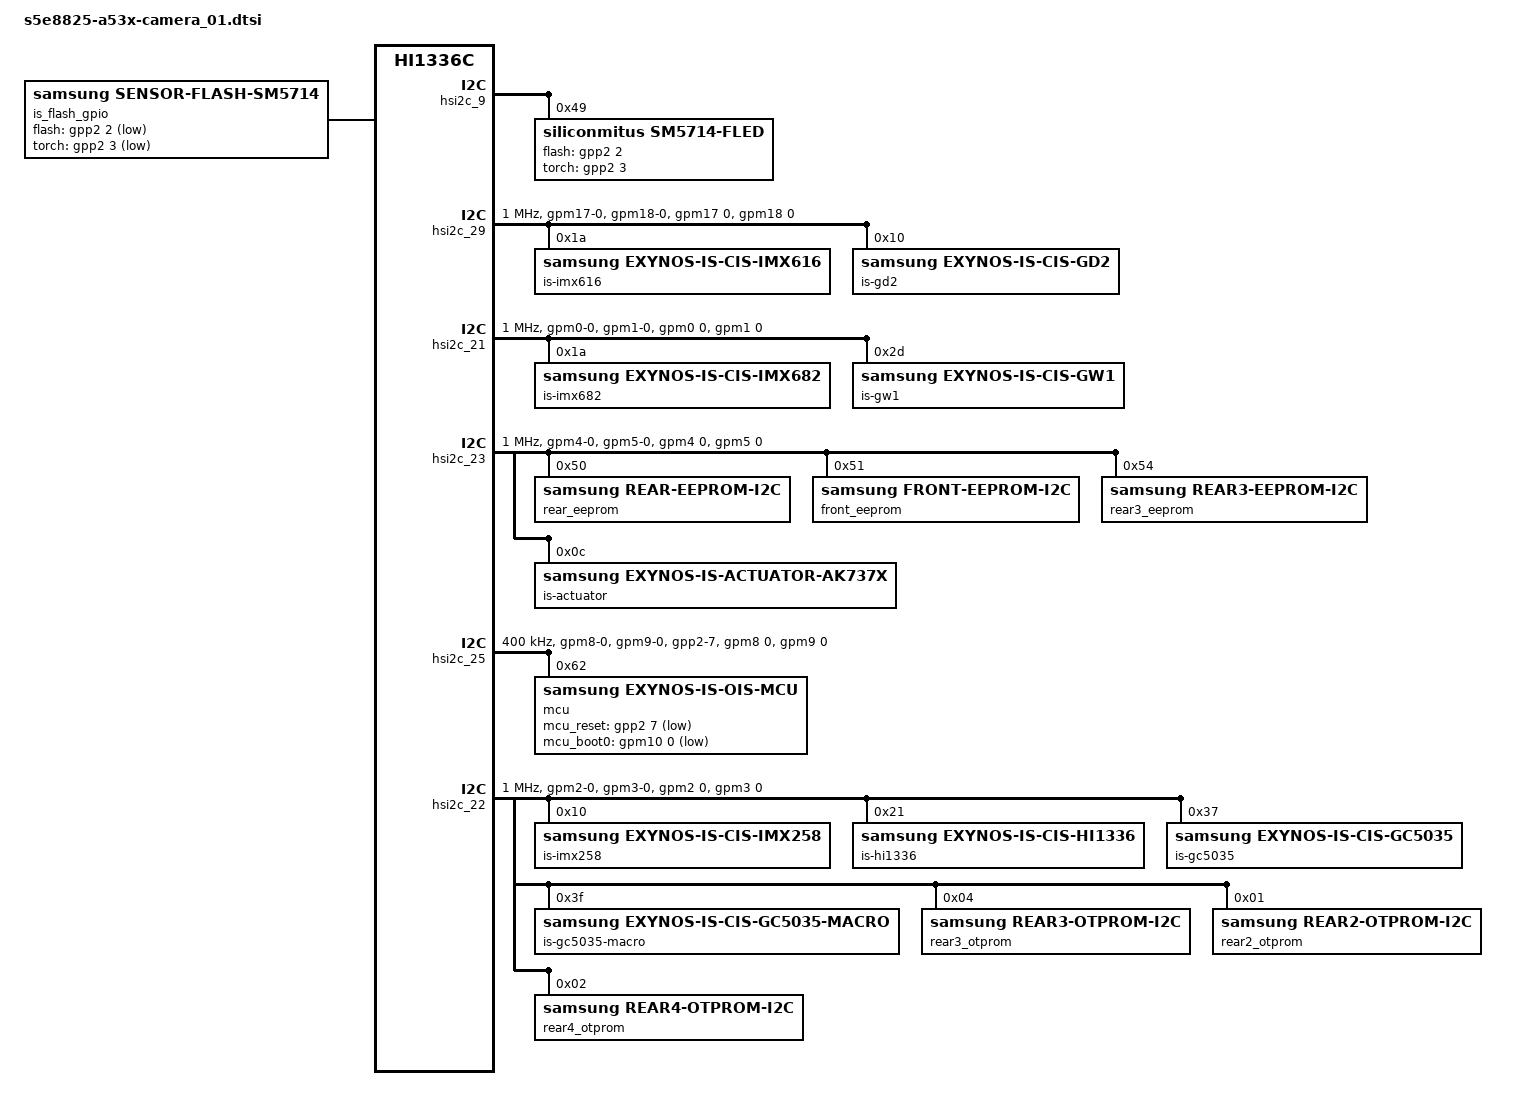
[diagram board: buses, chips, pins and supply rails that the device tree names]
/*
 * Samsung Exynos SoC series Pablo driver
 *
 * Copyright (c) 2021 Samsung Electronics Co., Ltd
 *
 * This program is free software; you can redistribute it and/or modify
 * it under the terms of the GNU General Public License version 2 as
 * published by the Free Software Foundation.
 */

#include <dt-bindings/camera/exynos_is_dt.h>

#include "module_imx682.dtsi"
#include "module_imx616.dtsi"
#include "module_gd2.dtsi"
#include "module_imx258.dtsi"
#include "module_gc5035.dtsi"
#include "module_hi1336c.dtsi"
#include "module_gw1p.dtsi"

/ {
	fragment@camera {
		target-path = "/";
		__overlay__ {
			#address-cells = <2>;
			#size-cells = <1>;
			interrupt-parent = <&gic>;

			is_sensor_imx682: is_sensor_imx682@34 {
				power_seq {
					scenario_normal_on {
						20 { pname = "VDDA_2.9V_CAM"; pin = <PIN_REGULATOR 1 1 2900000>; };
						40 { pname = "VDDD_1.1V_CAM"; pin = <PIN_REGULATOR 1 1 1100000>; };
						50 { pname = "VDDIO_1.8V_CAM"; pin = <PIN_REGULATOR 1 1>; share = <SRT_ACQUIRE SHARED_PIN1 1>; };
					};
					scenario_normal_off {
						70 { pname = "VDDIO_1.8V_CAM"; pin = <PIN_REGULATOR 0 0>; share = <SRT_RELEASE SHARED_PIN1 0>; };
					};
					scenario_ois_factory_on {
						20 { pname = "VDDIO_1.8V_CAM"; pin = <PIN_REGULATOR 1 0>; share = <SRT_ACQUIRE SHARED_PIN1 1>; };
					};
					scenario_ois_factory_off {
						80 { pname = "VDDIO_1.8V_CAM"; pin = <PIN_REGULATOR 0 0>; share = <SRT_RELEASE SHARED_PIN1 0>; };
					};
					scenario_read_rom_on {
						10 { pname = "VDDIO_1.8V_CAM"; pin = <PIN_REGULATOR 1 5000>; share = <SRT_ACQUIRE SHARED_PIN1 1>; };
					};
					scenario_read_rom_off {
						20 { pname = "VDDIO_1.8V_CAM"; pin = <PIN_REGULATOR 0 20000>; share = <SRT_RELEASE SHARED_PIN1 0>; };
					};
				};
			};
			is_sensor_gw1: is_sensor_gw1@5A {
				power_seq {
					scenario_normal_on {
						20 { pname = "VDDA_2.9V_CAM"; pin = <PIN_REGULATOR 1 1 2800000>; };
						40 { pname = "VDDD_1.1V_CAM"; pin = <PIN_REGULATOR 1 1 1000000>; };
						50 { pname = "VDDIO_1.8V_CAM"; pin = <PIN_REGULATOR 1 1>; share = <SRT_ACQUIRE SHARED_PIN1 1>; };
					};

					scenario_normal_off {
						70 { pname = "VDDIO_1.8V_CAM"; pin = <PIN_REGULATOR 0 0>; share = <SRT_RELEASE SHARED_PIN1 0>; };
					};

					scenario_ois_factory_on {
						20 { pname = "VDDIO_1.8V_CAM"; pin = <PIN_REGULATOR 1 0>; share = <SRT_ACQUIRE SHARED_PIN1 1>; };
					};

					scenario_ois_factory_off {
						80 { pname = "VDDIO_1.8V_CAM"; pin = <PIN_REGULATOR 0 0>; share = <SRT_RELEASE SHARED_PIN1 0>; };
					};

					scenario_read_rom_on {
						10 { pname = "VDDIO_1.8V_CAM"; pin = <PIN_REGULATOR 1 5000>; share = <SRT_ACQUIRE SHARED_PIN1 1>; };
					};

					scenario_read_rom_off {
						20 { pname = "VDDIO_1.8V_CAM"; pin = <PIN_REGULATOR 0 20000>; share = <SRT_RELEASE SHARED_PIN1 0>; };
					};
				};
			};

			is_sensor_imx616: is_sensor_imx616@34 {
				power_seq {
					scenario_normal_on {
						20 { pname = "VDDA_2.9V_FCAM"; pin = <PIN_REGULATOR 1 0 2900000>; };
						30 { pname = "VDDIO_1.8V_CAM"; pin = <PIN_REGULATOR 1 0>; share = <SRT_ACQUIRE SHARED_PIN1 1>; };
						40 { pname = "VDDD_1.05V_SUB"; pin = <PIN_REGULATOR 1 500 1050000>; };
						70 { pname = "MCLK"; pin = <PIN_MCLK 1 500>; share = <SRT_ACQUIRE SHARED_PIN5 1>; };
					};

					scenario_normal_off {
						30 { pname = "MCLK"; pin = <PIN_MCLK 0 0>; share = <SRT_RELEASE SHARED_PIN5 0>; };
						90 { pname = "VDDIO_1.8V_CAM"; pin = <PIN_REGULATOR 0 0>; share = <SRT_RELEASE SHARED_PIN1 0>; };
					};

					scenario_read_rom_on {
						10 { pname = "VDDIO_1.8V_CAM"; pin = <PIN_REGULATOR 1 3000>; share = <SRT_ACQUIRE SHARED_PIN1 1>; };
					};

					scenario_read_rom_off {
						20 { pname = "VDDIO_1.8V_CAM"; pin = <PIN_REGULATOR 0 20000>; share = <SRT_RELEASE SHARED_PIN1 0>; };
					};
				};
			};

			is_sensor_gd2: is_sensor_gd2@20 {
				power_seq {
					scenario_normal_on {
						20 { pname = "VDDA_2.9V_FCAM"; pin = <PIN_REGULATOR 1 0 2800000>; };
						30 { pname = "VDDIO_1.8V_CAM"; pin = <PIN_REGULATOR 1 0>; share = <SRT_ACQUIRE SHARED_PIN1 1>; };
						40 { pname = "VDDD_1.05V_SUB"; pin = <PIN_REGULATOR 1 500 1000000>; };
						80 { pname = "MCLK"; pin = <PIN_MCLK 1 500>; share = <SRT_ACQUIRE SHARED_PIN5 1>; };
					};

					scenario_normal_off {
						40 { pname = "MCLK"; pin = <PIN_MCLK 0 0>; share = <SRT_RELEASE SHARED_PIN5 0>; };
						90 { pname = "VDDIO_1.8V_CAM"; pin = <PIN_REGULATOR 0 0>; share = <SRT_RELEASE SHARED_PIN1 0>; };
					};

					scenario_read_rom_on {
						10 { pname = "VDDIO_1.8V_CAM"; pin = <PIN_REGULATOR 1 3000>; share = <SRT_ACQUIRE SHARED_PIN1 1>; };
					};

					scenario_read_rom_off {
						20 { pname = "VDDIO_1.8V_CAM"; pin = <PIN_REGULATOR 0 20000>; share = <SRT_RELEASE SHARED_PIN1 0>; };
					};
				};
			};

			is_sensor_imx258: is_sensor_imx258@20 {
				power_seq {
					scenario_normal_on {
						20 { pname = "VDDIO_1.8V_CAM"; pin = <PIN_REGULATOR 1 2000>; share = <SRT_ACQUIRE SHARED_PIN1 1>; };
						30 { pname = "vdd_ldo23s"; pin = <PIN_REGULATOR 1 2000 1200000>; };
						80 { pname = "MCLK"; pin = <PIN_MCLK 1 12000>; gpio = <&gpg0 4 0x1>; share = <SRT_ACQUIRE SHARED_PIN4 1>; };
					};

					scenario_normal_off {
						50 { pname = "VDDIO_1.8V_CAM"; pin = <PIN_REGULATOR 0 0>; share = <SRT_RELEASE SHARED_PIN1 0>; };
						60 { pname = "MCLK"; pin = <PIN_MCLK 0 0>; gpio = <&gpg0 4 0x1>; share = <SRT_RELEASE SHARED_PIN4 0>; };
					};

					scenario_read_rom_on {
						10 { pname = "VDDIO_1.8V_CAM"; pin = <PIN_REGULATOR 1 5000>; share = <SRT_ACQUIRE SHARED_PIN1 1>; };
					};

					scenario_read_rom_off {
						20 { pname = "VDDIO_1.8V_CAM"; pin = <PIN_REGULATOR 0 20000>; share = <SRT_RELEASE SHARED_PIN1 0>; };
					};
				};
			};

			is_sensor_hi1336: is_sensor_hi1336@42 {
				power_seq {
					scenario_normal_on {
						30 { pname = "VDDIO_1.8V_CAM"; pin = <PIN_REGULATOR 1 0>; share = <SRT_ACQUIRE SHARED_PIN1 1>; };
						60 { pname = "vdd_ldo23s"; pin = <PIN_REGULATOR 1 500 1100000>; };
						90 { pname = "MCLK"; pin = <PIN_MCLK 1 500>; gpio = <&gpg0 4 0x1>; share = <SRT_ACQUIRE SHARED_PIN4 1>; };
					};
					scenario_normal_off {
						20 { pname = "MCLK"; pin = <PIN_MCLK 0 500>; gpio = <&gpg0 4 0x1>; share = <SRT_RELEASE SHARED_PIN4 0>; };
						90 { pname = "VDDIO_1.8V_CAM"; pin = <PIN_REGULATOR 0 0>; share = <SRT_RELEASE SHARED_PIN1 0>; };
					};
					scenario_read_rom_on {
						30 { pname = "VDDIO_1.8V_CAM"; pin = <PIN_REGULATOR 1 0>; share = <SRT_ACQUIRE SHARED_PIN1 1>; };
						60 { pname = "vdd_ldo23s"; pin = <PIN_REGULATOR 1 500 1100000>; };
						90 { pname = "MCLK"; pin = <PIN_MCLK 1 500>; gpio = <&gpg0 4 0x1>; share = <SRT_ACQUIRE SHARED_PIN4 1>; };
					};
					scenario_read_rom_off {
						20 { pname = "MCLK"; pin = <PIN_MCLK 0 500>; gpio = <&gpg0 4 0x1>; share = <SRT_RELEASE SHARED_PIN4 0>; };
						90 { pname = "VDDIO_1.8V_CAM"; pin = <PIN_REGULATOR 0 0>; share = <SRT_RELEASE SHARED_PIN1 0>; };
					};
				};
			};

			is_sensor_gc5035: is_sensor_gc5035@6E {
				power_seq {
					scenario_normal_on {
						20 { pname = "VDDIO_1.8V_CAM"; pin = <PIN_REGULATOR 1 0>; share = <SRT_ACQUIRE SHARED_PIN1 1>; };
						30 { pname = "S2MPB03_LD04"; pin = <PIN_REGULATOR 1 0>; share = <SRT_ACQUIRE SHARED_PIN2 1>; };
						40 { pname = "rcam2_rcam4_ldo_2p8_en"; pin = <PIN_OUTPUT 1 1000>; gpio = <&gpm6 0 0x1>; share = <SRT_ACQUIRE SHARED_PIN3 1>; };
						80 { pname = "MCLK"; pin = <PIN_MCLK 1 10000>; gpio = <&gpg0 4 0x1>; share = <SRT_ACQUIRE SHARED_PIN4 1>; };
					};
					scenario_normal_off {
						30 { pname = "rcam2_rcam4_ldo_2p8_en"; pin = <PIN_OUTPUT 0 0>; gpio = <&gpm6 0 0x1>;share = <SRT_RELEASE SHARED_PIN3 0>; };
						40 { pname = "S2MPB03_LD04"; pin = <PIN_REGULATOR 0 0>; share = <SRT_RELEASE SHARED_PIN2 0>; };
						50 { pname = "VDDIO_1.8V_CAM"; pin = <PIN_REGULATOR 0 0>; share = <SRT_RELEASE SHARED_PIN1 0>; };
						60 { pname = "MCLK"; pin = <PIN_MCLK 0 0>; gpio = <&gpg0 4 0x1>; share = <SRT_RELEASE SHARED_PIN4 0>; }; 
					};
					scenario_read_rom_on {
						20 { pname = "VDDIO_1.8V_CAM"; pin = <PIN_REGULATOR 1 0>; share = <SRT_ACQUIRE SHARED_PIN1 1>; };
						30 { pname = "S2MPB03_LD04"; pin = <PIN_REGULATOR 1 0>; share = <SRT_ACQUIRE SHARED_PIN2 1>; };
						40 { pname = "rcam2_rcam4_ldo_2p8_en"; pin = <PIN_OUTPUT 1 1000>; gpio = <&gpm6 0 0x1>; share = <SRT_ACQUIRE SHARED_PIN3 1>; };
						80 { pname = "MCLK"; pin = <PIN_MCLK 1 10000>; gpio = <&gpg0 4 0x1>; share = <SRT_ACQUIRE SHARED_PIN4 1>; };
					};
					scenario_read_rom_off {
						30 { pname = "rcam2_rcam4_ldo_2p8_en"; pin = <PIN_OUTPUT 0 0>; gpio = <&gpm6 0 0x1>;share = <SRT_RELEASE SHARED_PIN3 0>; };
						40 { pname = "S2MPB03_LD04"; pin = <PIN_REGULATOR 0 0>; share = <SRT_RELEASE SHARED_PIN2 0>; };
						50 { pname = "VDDIO_1.8V_CAM"; pin = <PIN_REGULATOR 0 0>; share = <SRT_RELEASE SHARED_PIN1 0>; };
						60 { pname = "MCLK"; pin = <PIN_MCLK 0 0>; gpio = <&gpg0 4 0x1>; share = <SRT_RELEASE SHARED_PIN4 0>; };
					};
				};
			};


			is_sensor_gc5035_macro: is_sensor_gc5035_macro@7E {
				power_seq {
					scenario_normal_on {
						20 { pname = "VDDIO_1.8V_CAM"; pin = <PIN_REGULATOR 1 0>; share = <SRT_ACQUIRE SHARED_PIN1 1>; };
						30 { pname = "S2MPB03_LD04"; pin = <PIN_REGULATOR 1 0>; share = <SRT_ACQUIRE SHARED_PIN2 1>; };
						40 { pname = "rcam2_rcam4_ldo_2p8_en"; pin = <PIN_OUTPUT 1 1000>; gpio = <&gpm6 0 0x1>; share = <SRT_ACQUIRE SHARED_PIN3 1>; };
						80 { pname = "MCLK"; pin = <PIN_MCLK 1 200>; gpio = <&gpg0 3 0x1>; share = <SRT_ACQUIRE SHARED_PIN5 1>; };
					};
					scenario_normal_off {
						30 { pname = "rcam2_rcam4_ldo_2p8_en"; pin = <PIN_OUTPUT 0 0>; gpio = <&gpm6 0 0x1>;share = <SRT_RELEASE SHARED_PIN3 0>; };
						40 { pname = "S2MPB03_LD04"; pin = <PIN_REGULATOR 0 0>; share = <SRT_RELEASE SHARED_PIN2 0>; };
						50 { pname = "VDDIO_1.8V_CAM"; pin = <PIN_REGULATOR 0 0>; share = <SRT_RELEASE SHARED_PIN1 0>; };
						60 { pname = "MCLK"; pin = <PIN_MCLK 0 0>; gpio = <&gpg0 3 0x1>; share = <SRT_RELEASE SHARED_PIN5 0>; };
					};
					scenario_read_rom_on {
						20 { pname = "VDDIO_1.8V_CAM"; pin = <PIN_REGULATOR 1 0>; share = <SRT_ACQUIRE SHARED_PIN1 1>; };
						30 { pname = "S2MPB03_LD04"; pin = <PIN_REGULATOR 1 0>; share = <SRT_ACQUIRE SHARED_PIN2 1>; };
						40 { pname = "rcam2_rcam4_ldo_2p8_en"; pin = <PIN_OUTPUT 1 1000>; gpio = <&gpm6 0 0x1>; share = <SRT_ACQUIRE SHARED_PIN3 1>; };
						80 { pname = "MCLK"; pin = <PIN_MCLK 1 5000>; gpio = <&gpg0 3 0x1>; share = <SRT_ACQUIRE SHARED_PIN5 1>; };
					};
					scenario_read_rom_off {
						30 { pname = "rcam2_rcam4_ldo_2p8_en"; pin = <PIN_OUTPUT 0 0>; gpio = <&gpm6 0 0x1>;share = <SRT_RELEASE SHARED_PIN3 0>; };
						40 { pname = "S2MPB03_LD04"; pin = <PIN_REGULATOR 0 0>; share = <SRT_RELEASE SHARED_PIN2 0>; };
						50 { pname = "VDDIO_1.8V_CAM"; pin = <PIN_REGULATOR 0 0>; share = <SRT_RELEASE SHARED_PIN1 0>; };
						60 { pname = "MCLK"; pin = <PIN_MCLK 0 0>; gpio = <&gpg0 3 0x1>; share = <SRT_RELEASE SHARED_PIN5 0>; };
					};
				};
			};

			is_flash_gpio: is-flash-gpio@0 {
				compatible = "samsung,sensor-flash-sm5714";
				sensor-module = <&is_sensor_imx682>,<&is_sensor_gc5035_macro>;
				id = <0 3>;
				status = "okay";
				flash-gpio = <&gpp2 2 0x1>;
				torch-gpio = <&gpp2 3 0x1>;
			};

			d_phy_setfile: d_phy_setfile@00 {
				comm {
					/* bias */
					0  = <0x1000 0 32 0x00000010 IDX_BIA_VAL 0>; /* M_BIAS_CON0 */
					1  = <0x1004 0 32 0x00000110 IDX_BIA_VAL 0>; /* M_BIAS_CON1 */
					2  = <0x1008 0 32 0x00003223 IDX_BIA_VAL 0>; /* M_BIAS_CON2 */
					3  = <0x1010 0 32 0x00000200 IDX_BIA_VAL 0>; /* M_BIAS_CON4 */

					/* clock */
					4 = <0x0004 0 32 0x00001450 IDX_FIX_VAL 0>; /* SC_GNR_CON1 */
					5 = <0x0008 0 32 0x0000000C IDX_FIX_VAL 0>; /* SC_ANA_CON0 */
					6 = <0x000C 0 32 0x0000DAFB IDX_FIX_VAL 0>; /* SC_ANA_CON1 */
					7 = <0x0010 0 32 0x00000002 IDX_FIX_VAL 0>; /* SC_ANA_CON2 */
					8 = <0x0014 0 32 0x00008600 IDX_FIX_VAL 0>; /* SC_ANA_CON3 */
					9 = <0x0018 0 32 0x00004000 IDX_FIX_VAL 0>; /* SC_ANA_CON4 */
					10 = <0x001C 0 32 0x00000FFF IDX_FIX_VAL 0>; /* SC_ANA_CON5 */
					11 = <0x0030 0 32 0x00000301 IDX_FIX_VAL 0>; /* SC_TIME_CON0 */
					/* Enable should be set at last. */
					12 = <0x0000 0 32 0x00000001 IDX_FIX_VAL 0>; /* SC_GNR_CON0, Phy clock enable */
				};

				lane {
					0  = <0x0004 0 32 0x00001450 IDX_FIX_VAL 4>; /* SD_GNR_CON1 */
					1  = <0x0008 0 32 0x0000000C IDX_FIX_VAL 4>; /* SD_ANA_CON0 */
					2  = <0x000C 0 32 0x0000DAFB IDX_FIX_VAL 4>; /* SD_ANA_CON1 */
					3  = <0x0010 0 32 0x00000002 IDX_FIX_VAL 4>; /* SD_ANA_CON2 */
					4  = <0x0010 8  2 0x00000000 IDX_SKW_DLY 4>; /* SD_ANA_CON2 */
					5  = <0x0014 0 32 0x00008600 IDX_FIX_VAL 4>; /* SD_ANA_CON3 */
					6  = <0x0018 0 32 0x00004000 IDX_FIX_VAL 4>; /* SD_ANA_CON4 */
					7  = <0x0024 0 32 0x00000040 IDX_FIX_VAL 4>; /* SD_ANA_CON7 */
					8  = <0x0030 0  8 0x00000000 IDX_STL_VAL 4>; /* SD_TIME_CON0 */
					9  = <0x0030 8  1 0x00000000 IDX_STL_CLK 4>; /* SD_TIME_CON0 */
					10 = <0x0034 0 32 0x00000003 IDX_FIX_VAL 4>; /* SD_TIME_CON1 */
					11 = <0x0040 0  1 0x00000001 IDX_SKW_CAL 4>; /* SD_DESKEW_CON0 */
					12 = <0x0050 0 32 0x0000081A IDX_FIX_VAL 4>; /* SD_DESKEW_CON4 */
					/* Enable should be set at last. */
					13 = <0x0000 0 32 0x00000001 IDX_FIX_VAL 4>; /* SD_GNR_CON0 , Phy data enable */
				};
			};

			/* REAR CAMERA */
			is_sensor0: is_sensor0@15030000 {
				#address-cells = <1>;
				#size-cells = <1>;
				scenario = <SENSOR_SCENARIO_NORMAL>;	/* Normal, Vision, OIS etc */
				id = <0>;
				csi_ch = <0>;
				status = "okay";
				use_cphy = <1>;

				interrupts = <0 INTREQ__CSIS0 IRQ_TYPE_LEVEL_HIGH>; /* MIPI-CSI0 */
				interrupt-names = "csi";
				phys = <&mipi_phy_csis0_m0s4s4s4s4s2s1 0>;
				phy_setfile = <&c_phy_setfile>;
				phy_tune_default_mode = "2304 1728 120";
			};

			/* Bokeh CAMERA */
			is_sensor1: is_sensor1@15040000 {
				#address-cells = <1>;
				#size-cells = <1>;
				reg = <0x0 0x15060000 0x1000>, /* MIPI-CSI3 */
					<0x0 0x150F0000 0x10000>; /* PHY: M0S4S4S4S4S2S1 */
				scenario = <SENSOR_SCENARIO_NORMAL>;    /* Normal, Vision, OIS etc */
				id = <2>;
				csi_ch = <3>;
				status = "okay";
				use_cphy = <0>;

				interrupts = <0 INTREQ__CSIS3 IRQ_TYPE_LEVEL_HIGH>; /* MIPI-CSI3 */
				interrupt-names = "csi";
				phys = <&mipi_phy_csis3_m0s4s4s4s4s2s1 0>;
				phy_setfile = <&d_phy_setfile>;
			};

			/* UW CAMERA */
			is_sensor2: is_sensor2@15050000 {
				#address-cells = <1>;
				#size-cells = <1>;
				reg = <0x0 0x15040000 0x1000>, /* MIPI-CSI1 */
					<0x0 0x150F0000 0x10000>; /* PHY: M0S4S4S4S4S2S1 */
				scenario = <SENSOR_SCENARIO_NORMAL>;    /* Normal, Vision, OIS etc */
				id = <4>;
				csi_ch = <1>;
				status = "okay";

				interrupts = <0 INTREQ__CSIS1 IRQ_TYPE_LEVEL_HIGH>; /* MIPI-CSI1 */
				interrupt-names = "csi";
				phys = <&mipi_phy_csis1_m0s4s4s4s4s2s1 0>;
				phy_setfile = <&d_phy_setfile>;
			};

			/* Front CAMERA */
			is_sensor4: is_sensor4@15070000 {
				#address-cells = <1>;
				#size-cells = <1>;
				reg = <0x0 0x15050000 0x1000>, /* MIPI-CSI2 */
					<0x0 0x150F0000 0x10000>; /* PHY: M0S4S4S4S4S2S1 */
				scenario = <SENSOR_SCENARIO_NORMAL>;    /* Normal, Vision, OIS etc */
				id = <1>;
				csi_ch = <2>;
				status = "okay";

				interrupts = <0 INTREQ__CSIS2 IRQ_TYPE_LEVEL_HIGH>; /* MIPI-CSI2 */
				phys = <&mipi_phy_csis2_m0s4s4s4s4s2s1 0>;
				phy_setfile = <&d_phy_setfile>;
			};

			/* Macro CAMERA : 2+2 lane */
			is_sensor3: is_sensor3@15060000 {
				#address-cells = <1>;
				#size-cells = <1>;
				reg = <0x0 0x15070000 0x1000>, /* MIPI-CSI4 */
					<0x0 0x150F0000 0x10000>; /* PHY: M0S4S4S4S4S2S1 */
				scenario = <SENSOR_SCENARIO_NORMAL>;    /* Normal, Vision, OIS etc */
				id = <3>;
				csi_ch = <4>;
				status = "okay";

				interrupts = <0 INTREQ__CSIS4 IRQ_TYPE_LEVEL_HIGH>; /* MIPI-CSI2 */
				phys = <&mipi_phy_csis4_m0s4s4s4s4s2s1 0>;
				phy_setfile = <&phy_setfile_e>;
			};
		}; /* end of __overlay__ */
	}; /* end of fragment */
}; /* end of root */

/***** reference symbol node *****/
/* GPIO_PERI */
&pinctrl_1 {
	/* FRONT I2C */
	hsi2c29_bus_in: hsi2c29-bus-in {
		samsung,pins = "gpm17-0", "gpm18-0";
		samsung,pin-function = <0>; /* 0: Input, 1: Output, 2: Func */
		samsung,pin-pud = <0>;      /* 0: NP, 1: PD, 2: Reserved, 3: PU */
		samsung,pin-drv = <0>;      /* 0: x1, 1: x2, 2: x3, 3: x4 */
		samsung,pin-pud-pdn = <0>;  /* 0: NP, 1: PD, 2: Reserved, 3: PU */
	};

	/* WIDE I2C */
	hsi2c21_bus: hsi2c21-bus {
		samsung,pins = "gpm0-0", "gpm1-0";
		samsung,pin-function = <2>; /* 0: Input, 1: Output, 2: Func */
		samsung,pin-pud = <3>;      /* 0: NP, 1: PD, 2: Reserved, 3: PU */
		samsung,pin-drv = <0>;      /* 0: x1, 1: x2, 2: x3, 3: x4 */
	};
	hsi2c21_bus_in: hsi2c21-bus-in {
		samsung,pins = "gpm0-0", "gpm1-0";
		samsung,pin-function = <0>; /* 0: Input, 1: Output, 2: Func */
		samsung,pin-pud = <1>;      /* 0: NP, 1: PD, 2: Reserved, 3: PU */
		samsung,pin-drv = <0>;      /* 0: x1, 1: x2, 2: x3, 3: x4 */
		samsung,pin-pud-pdn = <1>;  /* 0: NP, 1: PD, 2: Reserved, 3: PU */
	};

	/* BOKEH_UW_MACRO I2C */
	hsi2c22_bus_in: hsi2c22-bus-in {
		samsung,pins = "gpm2-0", "gpm3-0";
		samsung,pin-function = <0>; /* 0: Input, 1: Output, 2: Func */
		samsung,pin-pud = <0>;      /* 0: NP, 1: PD, 2: Reserved, 3: PU */
		samsung,pin-drv = <0>;      /* 0: x1, 1: x2, 2: x3, 3: x4 */
		samsung,pin-pud-pdn = <0>;  /* 0: NP, 1: PD, 2: Reserved, 3: PU */
	};

	/* AF_EEP I2C */
	hsi2c23_bus_in: hsi2c23-bus-in {
		samsung,pins = "gpm4-0", "gpm5-0";
		samsung,pin-function = <0>; /* 0: Input, 1: Output, 2: Func */
		samsung,pin-pud = <0>;      /* 0: NP, 1: PD, 2: Reserved, 3: PU */
		samsung,pin-drv = <0>;      /* 0: x1, 1: x2, 2: x3, 3: x4 */
	};

	/* MCU I2C */
	hsi2c25_bus: hsi2c25-bus {
		samsung,pins = "gpm8-0", "gpm9-0";
		samsung,pin-function = <2>; /* 0: Input, 1: Output, 2: Func */
		samsung,pin-pud = <3>;      /* 0: NP, 1: PD, 2: Reserved, 3: PU */
		samsung,pin-drv = <0>;      /* 0: x1, 1: x2, 2: x3, 3: x4 */
	};

	rcam2_rcam4_ldo_en: rcam2-rcam4-ldo-en {
		samsung,pins = "gpm6-0";
		samsung,pin-function = <1>; /* 0: Input, 1: Output, 2: Func */
		samsung,pin-pud = <1>;      /* 0: NP, 1: PD, 2: Reserved, 3: PU */
		samsung,pin-con-pdn = <0>;  /* 0: Output0, 1: Output1, 2: Input, 3: Prev */
		samsung,pin-pud-pdn = <1>;  /* 0: NP, 1: PD, 2: Reserved, 3: PU */
	};

	ois_ldo_en: ois-ldo-en {
		samsung,pins = "gpm19-0";
		samsung,pin-function = <0>; /* 0: Input, 1: Output */
		samsung,pin-pud = <1>;      /* 0: NP, 1: PD, 2: Reserved, 3: PU */
		samsung,pin-con-pdn = <2>;  /* 0: Output0, 1: Output1, 2: Input, 3: Prev */
		samsung,pin-pud-pdn = <1>;  /* 0: NP, 1: PD, 2: Reserved, 3: PU */
	};
};

&pinctrl_4 {
	rcam3_ldo_en: rcam3-ldo-en {
		samsung,pins = "gpf0-1";
		samsung,pin-function = <1>; /* 0: Input, 1: Output, 2: Func */
		samsung,pin-con-pdn = <0>;  /* 0: Output0, 1: Output1, 2: Input, 3: Prev */
	};
};

&pinctrl_6 {
	is_flash: is-flash {
		samsung,pins = "gpp2-2", "gpp2-3";
		samsung,pin-function = <1>; /* 0: Input, 1: Output, 2: Func */
		samsung,pin-pud = <1>;      /* 0: NP, 1: PD, 2: Reserved, 3: PU */
		samsung,pin-drv = <0>;      /* 0: x1, 1: x2, 2: x3, 3: x4 */
		samsung,pin-con-pdn = <3>;  /* 0: Output0, 1: Output1, 2: Input, 3: Prev */
	};

	reset_pins: reset-pins {
		samsung,pins = "gpg1-0", "gpg1-1", "gpg1-2";
		samsung,pin-con-pdn = <2>;  /* 0: Output0, 1: Output1, 2: Input, 3: Prev */
	};

	mcu_n_rst: mcu-n-rst {
		samsung,pins = "gpp2-7";
		samsung,pin-function = <1>; /* 0: Input, 1: Output, 2: Func */
		samsung,pin-pud = <3>;      /* 0: NP, 1: PD, 2: Reserved, 3: PU */
		samsung,pin-con-pdn = <0>;  /* 0: Output0, 1: Output1, 2: Input, 3: Prev */
		samsung,pin-pud-pdn = <3>;  /* 0: NP, 1: PD, 2: Reserved, 3: PU */
	};
};

&hsi2c_9 {
	sm5714-fled@49 {
		compatible = "siliconmitus,sm5714-fled";
		status = "okay";
		reg = <0x49>;
		flash-gpio = <&gpp2 2 0>;
		torch-gpio = <&gpp2 3 0>;
		flash-brightness = <0xA>; /* 0x0(300mA), 0x1(700mA), 0x2(800mA), 0x3(900mA) ~ 0xF(1500mA) : 50mA Step */
		preflash-brightness = <0x4>;
		torch-brightness = <0x4>; /* 0x0(50mA) ~ 0x7(225mA) : 25mA Step */
		torch-brightness-levels = <0 1 2 5 7>;
		timeout = <0xff>;
	};
};

&hsi2c_29 {
	#address-cells = <1>;
	#size-cells = <0>;
	gpios = <&gpm17 0 0 &gpm18 0 0>;
	status = "okay";
	clock-frequency = <1000000>;
	samsung,reset-before-trans;
	samsung,fast-plus-mode;

	pinctrl-names = "default","on_i2c","off_i2c";
	pinctrl-0 = <&hsi2c29_bus_in>;
	pinctrl-1 = <&hsi2c29_bus>;
	pinctrl-2 = <&hsi2c29_bus_in>;

	is-imx616@34 {
		compatible = "samsung,exynos-is-cis-imx616";
		sensor-module = <&is_sensor_imx616>;
		reg = <0x1A>; /* 1 bit right shift */
		id = <1>; /* matching is_sensor id */
		sensor_f_number = <220>;	/* f number 2.2 */
		setfile = "setB";
		use_initial_ae; /* for initial AE of face unlock */
		rev_reg = <0x0018 1 0x21>;
		status = "okay";
	};

	is-gd2@20 {
		compatible = "samsung,exynos-is-cis-gd2";
		sensor-module = <&is_sensor_gd2>;
		reg = <0x10>; /* 1 bit right shift */
		id = <1>; /* matching is_sensor id */
		sensor_f_number = <220>;	/* f number 2.2 */
		setfile = "setB";
		use_initial_ae; /* for initial AE of face unlock */
		status = "okay";
	};
};

&hsi2c_21 {
	#address-cells = <1>;
	#size-cells = <0>;
	gpios = <&gpm0 0 0 &gpm1 0 0>;
	status = "okay";
	clock-frequency = <1000000>;
	samsung,reset-before-trans;
	samsung,fast-plus-mode;

	pinctrl-names = "default","on_i2c","off_i2c";
	pinctrl-0 = <&hsi2c21_bus_in>;
	pinctrl-1 = <&hsi2c21_bus>;
	pinctrl-2 = <&hsi2c21_bus_in>;

	is-imx682@34 {
		compatible = "samsung,exynos-is-cis-imx682";
		sensor-module = <&is_sensor_imx682>;
		reg = <0x1A>; /* 1 bit right shift */
		id = <0>; /* matching is_sensor id */
		sensor_f_number = <180>;	/* f number 1.8 */
		setfile = "setB";
		rev_reg = <0x0018 1 0x10>;
		status = "okay";
	};

	is-gw1@5A {
		compatible = "samsung,exynos-is-cis-gw1";
		sensor-module = <&is_sensor_gw1>;
		reg = <0x2D>; /* 1 bit right shift */
		id = <0>; /* matching is_sensor id */
		sensor_f_number = <180>;	/* f number 1.8 */
		setfile = "setA";
		status = "okay";
	};
};

&hsi2c_23 {
	#address-cells = <1>;
	#size-cells = <0>;
	gpios = <&gpm4 0 0 &gpm5 0 0>;
	status = "okay";
	clock-frequency = <1000000>;
	samsung,reset-before-trans;
	samsung,fast-plus-mode;

	pinctrl-names = "default","on_i2c","off_i2c";
	pinctrl-0 = <&hsi2c23_bus_in>;
	pinctrl-1 = <&hsi2c23_bus>;
	pinctrl-2 = <&hsi2c23_bus_in>;

	rear_eeprom@50 { /* Rear Wide eeprom */
		compatible = "samsung,rear-eeprom-i2c";
		reg = <0x50>;

		rom_power_position = <0>;
		rom_size = <0x4970>;
		cal_map_es_version = <1>;
		camera_module_es_version = "A";
		/* skip_cal_loading; */

		/* 0 header */
		header_crc_check_list = <0x0000 0x00FB 0x00FC>;
		/*
		 * 1 Cross talk
		 * 2 AF
		 * 3 PDAF
		 * 4 AWB
		 * 5 LSC
		 */
		crc_check_list = <0x01D0 0x103B 0x103C
				0x1070 0x188B 0x188C
				0x1CC0 0x1CFB 0x1CFC
				0x1D00 0x24BB 0x24BC
				0x2D50 0x2D6B 0x2D6C
				0x2D70 0x316B 0x316C
				>;
		/* Master */
		rom_header_version_start_addr = <0x6E>;
		rom_header_cal_data_start_addr = <0x100>;
		rom_header_cal_map_ver_start_addr = <0x90>;
		//rom_header_isp_setfile_ver_start_addr = <0x54>;
		rom_header_project_name_start_addr = <0x98>;
		rom_header_module_id_addr = <0xAE>; /* 0x28 + reserved bytes */
		rom_header_sensor_id_addr = <0xB8>;
		rom_awb_master_addr = <0x2D50>;

		/* Dual cal slave 0 - Bokeh DualCal info data (Set Cal) */
		rom_dualcal_slave0_start_addr = <0x1070>;
		rom_dualcal_slave0_size = <0x080C>; /* 2060 */

		/* Rear Crosstalk Cal data */
		rom_xtc_cal_data_start_addr = <0x01D0>;
		rom_xtc_cal_data_size = <3528>;
		rom_xtc_cal_data_addr_list = <0x01D0 0x0DA0>;

		rom_af_cal_addr = <0x1CC8 0x1CC0>; /*AF position inf 0 Near Far */

		use_standard_cal;
		rom_standard_cal_start_addr = <0x2D50>;
		rom_standard_cal_end_addr = <0x316F>;
		rom_standard_cal_sec2lsi_end_addr = <0x338F>;
		rom_awb_start_addr = <0x2D50>;
		rom_awb_end_addr = <0x2D57>;
		rom_shading_start_addr = <0x2D70>;
		rom_shading_end_addr = <0x3168>;
		rom_factory_start_addr = <0x3170>;
		rom_factory_end_addr = <0x338F>;
		rom_awb_sec2lsi_start_addr = <0x2D50>;
		rom_awb_sec2lsi_end_addr = <0x2D57>;
		rom_awb_sec2lsi_checksum_addr = <0x2D5C>;
		rom_awb_sec2lsi_checksum_len = <0xC>;
		rom_shading_sec2lsi_start_addr = <0x2D60>;
		rom_shading_sec2lsi_end_addr = <0x4747>;
		rom_shading_sec2lsi_checksum_addr = <0x474C>;
		rom_shading_sec2lsi_checksum_len = <0x19EC>;
		rom_factory_sec2lsi_start_addr = <0x4750>;

		/* sensor ois - xgg ygg xcoef ycoef xsupper ysupper calmark */
		rom_ois_list = <0x0180 0x0184 0x018C 0x018E 0x01A8 0x01AA 0x01A0>;
	};

	front_eeprom@51 {
		compatible = "samsung,front-eeprom-i2c";
		reg = <0x51>;
		rom_power_position = <1>;
		rom_size = <0x3310>;
		cal_map_es_version = <1>;
		camera_module_es_version = "A";
		/* skip_cal_loading; */

		/* 0 header */
		header_crc_check_list = <0x0000 0x007B 0x007C>;
		/* 0 cross-talk */
		/* 1 standard cal */
		crc_check_list = <0x0080 0x081B 0x081C
					0x0820 0x0C2B 0x0C2C>;
		/* Master */
		rom_header_version_start_addr = <0x1E>;
		rom_header_cal_data_start_addr = <0x820>;
		rom_header_cal_map_ver_start_addr = <0x30>;
		/* rom_header_isp_setfile_ver_start_addr = <>; */
		rom_header_project_name_start_addr = <0x38>;
		rom_header_module_id_addr = <0x56>; /* 0x50 + reserved bytes */
		rom_header_sensor_id_addr = <0x60>;
		rom_header_mtf_data_addr = <0xC30>;
		rom_awb_master_addr = <0x0820>;
		/* Front Crosstalk Cal data */
		rom_xtc_cal_data_start_addr = <0x80>;
		rom_xtc_cal_data_size = <1820>;
		rom_xtc_cal_data_addr_list = <0x0080 0x0698>;

		use_standard_cal;
		rom_standard_cal_start_addr = <0x0820>;
		rom_standard_cal_end_addr = <0x0C2F>;
		rom_standard_cal_sec2lsi_end_addr = <0x0E6F>;
		rom_awb_start_addr = <0x0820>;
		rom_awb_end_addr = <0x0827>;
		rom_shading_start_addr = <0x0830>;
		rom_shading_end_addr = <0x0C28>;
		rom_factory_start_addr = <0x0C30>;
		rom_factory_end_addr = <0x0E6F>;
		rom_awb_sec2lsi_start_addr = <0x16D0>;
		rom_awb_sec2lsi_end_addr = <0x16D7>;
		rom_awb_sec2lsi_checksum_addr = <0x16DC>;
		rom_awb_sec2lsi_checksum_len = <0xC>;
		rom_shading_sec2lsi_start_addr = <0x16E0>;
		rom_shading_sec2lsi_end_addr = <0x30C7>;
		rom_shading_sec2lsi_checksum_addr = <0x30CC>;
		rom_shading_sec2lsi_checksum_len = <0x19EC>;
		rom_factory_sec2lsi_start_addr = <0x30D0>;

		/* Dualized sensor details; */

		/* 0 header */
		header_dualized_crc_check_list = <0x0000 0x007B 0x007C>;
		/* 0 cross-talk */
		/* 1 standard cal */
		crc_dualized_check_list = <0x0080 0x16CB 0x16CC
					0x16D0 0x1DAB 0x1DAC>;
		/* Master */
		rom_dualized_header_version_start_addr = <0x1E>;
		rom_dualized_header_cal_data_start_addr = <0x16D0>;
		rom_dualized_header_cal_map_ver_start_addr = <0x30>;
		/* rom_dualized_header_isp_setfile_ver_start_addr = <>; */
		rom_dualized_header_project_name_start_addr = <0x38>;
		rom_dualized_header_module_id_addr = <0x56>; /* 0x50 + reserved bytes */
		rom_dualized_header_sensor_id_addr = <0x60>;
		rom_dualized_header_mtf_data_addr = <0x1AE0>;
		rom_dualized_awb_master_addr = <0x16D0>;
		/* Front Crosstalk Cal data */
		rom_dualized_xtc_cal_data_start_addr = <0x80>;
		rom_dualized_xtc_cal_data_size = <5586>;
		rom_dualized_xtc_cal_data_addr_list = <0x0080 0x0914>;

		use_dualized_standard_cal;
		rom_dualized_standard_cal_start_addr = <0x16D0>;
		rom_dualized_standard_cal_end_addr = <0x1DAF>;
		rom_dualized_standard_cal_sec2lsi_end_addr = <0x1D1F>;
		rom_dualized_awb_start_addr = <0x16D0>;
		rom_dualized_awb_end_addr = <0x16D7>;
		rom_dualized_shading_start_addr = <0x16E0>;
		rom_dualized_shading_end_addr = <0x1DA8>;
		rom_dualized_factory_start_addr = <0x1AE0>;
		rom_dualized_factory_end_addr = <0x1D1F>;
		rom_dualized_awb_sec2lsi_start_addr = <0x16D0>;
		rom_dualized_awb_sec2lsi_end_addr = <0x16D7>;
		rom_dualized_awb_sec2lsi_checksum_addr = <0x16DC>;
		rom_dualized_awb_sec2lsi_checksum_len = <0xC>;
		rom_dualized_shading_sec2lsi_start_addr = <0x16E0>;
		rom_dualized_shading_sec2lsi_end_addr = <0x30C7>;
		rom_dualized_shading_sec2lsi_checksum_addr = <0x30CC>;
		rom_dualized_shading_sec2lsi_checksum_len = <0x19EC>;
		rom_dualized_factory_sec2lsi_start_addr = <0x30D0>;
	};

	rear3_eeprom@A8 { /* Ultra wide eeprom */
		compatible = "samsung,rear3-eeprom-i2c";
		reg = <0x54>;

		rom_power_position = <4>;
		rom_size = <0x1AE0>;
		cal_map_es_version = <1>;
		camera_module_es_version = "A";
		/* skip_cal_loading;*/

		/* 0 header */
		header_crc_check_list = <0x0000 0x004B 0x004C>;
		/* 0 module */
		crc_check_list = <0x0050 0x04CB 0x04CC>;
		/* Master */
		rom_header_version_start_addr = <0xA>;
		rom_header_cal_data_start_addr = <0x50>;
		rom_header_cal_map_ver_start_addr = <0x16>;
		//rom_header_isp_setfile_ver_start_addr = <0x54>;
		rom_header_project_name_start_addr = <0x1E>;
		rom_header_module_id_addr = <0x2E>; /* 0x28 + reserved bytes */
		rom_header_sensor_id_addr = <0x38>;
		rom_awb_master_addr = <0x50>;

		use_standard_cal;
		rom_standard_cal_start_addr = <0x50>;
		rom_standard_cal_end_addr = <0x45F>;
		rom_standard_cal_sec2lsi_end_addr = <0x4EF>;
		rom_awb_start_addr = <0x50>;
		rom_awb_end_addr = <0x57>;
		rom_shading_start_addr = <0x5B>;
		rom_shading_end_addr = <0x453>;
		rom_factory_start_addr = <0x4D0>;
		rom_factory_end_addr = <0x4EF>;
		rom_awb_sec2lsi_start_addr = <0x50>;
		rom_awb_sec2lsi_end_addr = <0x57>;
		rom_awb_sec2lsi_checksum_addr = <0x5C>;
		rom_awb_sec2lsi_checksum_len = <0xC>;
		rom_shading_sec2lsi_start_addr = <0x60>;
		rom_shading_sec2lsi_end_addr = <0x1A47>;
		rom_shading_sec2lsi_checksum_addr = <0x1A4C>;
		rom_shading_sec2lsi_checksum_len = <0x19EC>;
		rom_factory_sec2lsi_start_addr = <0x1AC0>;
	};

	is-actuator@0C {
		compatible = "samsung,exynos-is-actuator-ak737x";
		sensor-module = <&is_sensor_imx682>;
		reg = <0x0C>;
		id = <0>; /* matching is_sensor id */
		/* AK737x: addr 0xF3, data 0x0E */
		vendor_product_id = <0xF3 0x0E 0xF3 0x13 0xF3 0x00>;
		vendor_first_pos = <120>;
		vendor_first_delay = <2000>;
		vendor_use_sleep_mode;
		status = "okay";
	};
};

&hsi2c_25 {
	#address-cells = <1>;
	#size-cells = <0>;
	gpios = <&gpm8 0 0 &gpm9 0 0>;
	/* Use 400KHz since SCL suddenly sets LOW while reading halldata with 1MHz */
	clock-frequency = <400000>;
	samsung,scl-clk-stretching;
	samsung,reset-before-trans;
	status = "okay";

	pinctrl-names = "default","on_i2c","off_i2c";
	pinctrl-0 = <&hsi2c25_bus &mcu_n_rst>;
	pinctrl-1 = <&hsi2c25_bus>;
	pinctrl-2 = <&hsi2c25_bus>;

	mcu@C4 {
		compatible = "samsung,exynos-is-ois-mcu";
		reg = <0x62>;
		id = <0>;
		gpio_mcu_reset = <&gpp2 7 0x1>;
		gpio_mcu_boot0 = <&gpm10 0 0x1>;
		/* wx_pole, wy_pole, gyro_orientation, tx_pole, ty_pole */
		ois_gyro_list = <0x00 0x00 0x00>;
	};
};

&hsi2c_22 {
	#address-cells = <1>;
	#size-cells = <0>;
	gpios = <&gpm2 0 0 &gpm3 0 0>;
	status = "okay";
	clock-frequency = <1000000>;
	samsung,reset-before-trans;
	samsung,fast-plus-mode;

	pinctrl-names = "default","on_i2c","off_i2c";
	pinctrl-0 = <&hsi2c22_bus_in>;
	pinctrl-1 = <&hsi2c22_bus>;
	pinctrl-2 = <&hsi2c22_bus_in>;
	is-imx258@20 {
		compatible = "samsung,exynos-is-cis-imx258";
		sensor-module = <&is_sensor_imx258>;
		reg = <0x10>; /* 1 bit right shift */
		id = <4>; /* matching is_sensor id */
		sensor_f_number = <220>;	/* f number 2.2 */
		setfile = "setB";
		status = "okay";
		rev_reg = <0x0A2E 1 0x30>;
	};

	is-hi1336@42 {
		compatible = "samsung,exynos-is-cis-hi1336";
		sensor-module = <&is_sensor_hi1336>;
		reg = <0x21>; /* 1 bit right shift */
		id = <4>; /* matching is_sensor id */
		sensor_f_number = <220>;	/* f number 2.2 */
		setfile = "setB";
		status = "okay";
	};

	is-gc5035@6E {
		compatible = "samsung,exynos-is-cis-gc5035";
		sensor-module = <&is_sensor_gc5035>;
		reg = <0x37>; /* 1 bit right shift */
		id = <2>; /* matching is_sensor id */
		sensor_f_number = <240>;	/* f number 2.4 */
		setfile = "setB";
		status = "okay";
	};

	is-gc5035-macro@7E {
		compatible = "samsung,exynos-is-cis-gc5035-macro";
		sensor-module = <&is_sensor_gc5035_macro>;
		reg = <0x3F>; /* 1 bit right shift */
		id = <3>; /* matching is_sensor id */
		sensor_f_number = <240>;	/* f number 2.4 */
		setfile = "setB";
		status = "okay";
	};

	rear3_otprom@42 { /* Ultra wide dualized otprom */
		compatible = "samsung,rear3-otprom-i2c";
		reg = <0x04>;

		rom_power_position = <4>;
		rom_size = <0x1AE0>;
		cal_map_es_version = <1>;
		camera_module_es_version = "A";
		/* skip_cal_loading;*/

		/* 20210405_S21FE_UW_12M_Hi1336_OTP_Cal map V008.001_QC_LSI_Map */
		/* 0 header */
		header_crc_check_list = <0x0 0x4B 0x4C>;
		/* 0 module */
		crc_check_list = <0x50 0x4CB 0x4CC>;
		/* Master */
		rom_header_version_start_addr = <0x0A>;
		rom_header_cal_data_start_addr = <0x50>;
		rom_header_cal_map_ver_start_addr = <0x16>;
		//rom_header_isp_setfile_ver_start_addr = <0x54>;
		rom_header_project_name_start_addr = <0x1E>;
		rom_header_module_id_addr = <0x2E>; /* 0x28 + reserved bytes */
		rom_header_sensor_id_addr = <0x38>;
		rom_awb_master_addr = <0x50>;

		/* standard cal */
		use_standard_cal;
		rom_standard_cal_start_addr = <0x50>;
		rom_standard_cal_end_addr = <0x04CF>;
		rom_standard_cal_sec2lsi_end_addr = <0x1ADF>;
		rom_awb_start_addr = <0x50>;
		rom_awb_end_addr = <0x57>;
		rom_shading_start_addr = <0x5B>;
		rom_shading_end_addr = <0x460>;
		rom_factory_start_addr = <0x04D0>;
		rom_factory_end_addr = <0x04EF>;
		rom_awb_sec2lsi_start_addr = <0x50>;
		rom_awb_sec2lsi_end_addr = <0x57>;
		rom_awb_sec2lsi_checksum_addr = <0x5C>;
		rom_awb_sec2lsi_checksum_len = <0xC>;
		rom_shading_sec2lsi_start_addr = <0x60>;
		rom_shading_sec2lsi_end_addr = <0x1A47>;
		rom_shading_sec2lsi_checksum_addr = <0x1A4C>;
		rom_shading_sec2lsi_checksum_len = <0x19EC>;
		rom_factory_sec2lsi_start_addr = <0x1AC0>;
	};	

	rear2_otprom@6E { /* Bokeh */
		compatible = "samsung,rear2-otprom-i2c";
		reg = <0x01>;

		rom_power_position = <2>;
		rom_size = <0x1AE0>;

		cal_map_es_version = <1>;
		camera_module_es_version = "A";
		/* skip_cal_loading;*/

		/* 0 header */
		header_crc_check_list = <0x0 0x6B 0x6C>;
		/* Master */
		rom_header_version_start_addr = <0x00>;
		rom_header_cal_map_ver_start_addr = <0x1C>;
		rom_header_project_name_start_addr = <0x24>;
		rom_header_module_id_addr = <0x46>; /* 0x28 + reserved bytes */
		rom_header_sensor_id_addr = <0x50>;
	};

	rear4_otprom@7E { /* Macro otprom */
		compatible = "samsung,rear4-otprom-i2c";
		reg = <0x02>;

		rom_power_position = <6>;
		rom_size = <0x1A50>;
		cal_map_es_version = <1>;
 		camera_module_es_version = "A";
		/* skip_cal_loading;*/

		/* 0 header */
		header_crc_check_list = <0x0 0x4B 0x4C>;
		/* 0 module */
		crc_check_list = <0x50 0xEF 0xF0>;
		/* Master */
		rom_header_version_start_addr = <0x0A>;
		rom_header_cal_data_start_addr = <0x50>;
		rom_header_cal_map_ver_start_addr = <0x16>;
		rom_header_project_name_start_addr = <0x1E>;
		rom_header_module_id_addr = <0x2E>; /* 0x28 + reserved bytes */
		rom_header_sensor_id_addr = <0x38>;
		rom_awb_master_addr = <0x50>;

		use_standard_cal;
		rom_standard_cal_start_addr = <0x50>;
		rom_standard_cal_end_addr = <0xF3>;
		rom_standard_cal_sec2lsi_end_addr = <0xF3>;
		rom_awb_start_addr = <0x50>;
		rom_awb_end_addr = <0x57>;
		rom_shading_start_addr = <0x60>;
		rom_shading_end_addr = <0xE8>;
		rom_awb_sec2lsi_start_addr = <0x50>;
		rom_awb_sec2lsi_end_addr = <0x57>;
		rom_awb_sec2lsi_checksum_addr = <0x5C>;
		rom_awb_sec2lsi_checksum_len = <0xC>;
		rom_shading_sec2lsi_start_addr = <0x60>;
		rom_shading_sec2lsi_end_addr = <0x1A47>;
		rom_shading_sec2lsi_checksum_addr = <0x1A4C>;
		rom_shading_sec2lsi_checksum_len = <0x19EC>;
	};
};

&exynos_is {
	pinctrl-names = "default","sleep";
	pinctrl-0 = <&is_flash &rcam2_rcam4_ldo_en &ois_ldo_en &rcam3_ldo_en &reset_pins>;
	pinctrl-1 = <>;

	vender {
		use_module_check;
		use_ois;
		check_sensor_vendor;
		ois_sensor_index = <0>;
		aperture_sensor_index = <0>;
		mcu_sensor_index = <0>;

		is_vendor_sensor_count = <5>;
		max_supported_camera = <6>;
		supported_cameraId = <0 1 23 52 58 60>;
		/*
		* Wide(0)
		* Front(1)
		* U Wide(2)
		* Front 80(3) - not available for factory
		* Front Secure(5) - not available for factory
		* DUAL_REAR_PORTRAIT_WIDE(23)
		* Bokeh(52)
		* Rear_UW(58)
		* Macro(60)
		*/

		/* sysfs camera id */
		max_camera_num = <7>;
		sensor_id { /* sensor position = <sensor_id> */
			0 = <124 62>;	/* IMX682 S5KGW1*/
			1 = <121 73>;	/* IMX616 S5KGD2*/
			2 = <210>;	/* GC5035 */
			4 = <110 211>;	/* IMX258 HI1336 */
			6 = <210>;	/* GC5035 */
		};
		camera_info0 {			/* 0 : sysfs rear */
			internal_id = <0>;	/* 0 : wide */
			isp = <0>;		/* 0 : INT, 1 : EXT, 2 : SOC */
			cal_memory = <2>;	/* 0 : N, 1 : FROM, 2 : EEPROM, 3 : OTP */
			read_version = <0>;	/* 0 : SYSFS, 1 : CAMON */
			core_voltage = <0>;	/* 0 : N, 1 : Y */
			upgrade = <0>;		/* 0 : N, 1 : SYSFS , 2 : CAMON */
			fw_write = <0>;		/* 0 : N, 1 : OS, 2 : SD, 3 : ALL */
			fw_dump = <0>;		/* 0 : N, 1 : Y */
			companion = <0>;	/* 0 : N, 1 : Y */
			ois = <1>;		/* 0 : N, 1 : Y */
			valid = <1>;		/* 0 : INVALID, 1 : VALID */
		};
		camera_info1 {			/* 1 : sysfs front */
			internal_id = <1>;	/* 1 : front master */
			isp = <0>;		/* 0 : INT, 1 : EXT, 2 : SOC */
			cal_memory = <2>;	/* 0 : N, 1 : FROM, 2 : EEPROM, 3 : OTP */
			read_version = <0>;	/* 0 : SYSFS, 1 : CAMON */
			core_voltage = <0>;	/* 0 : N, 1 : Y */
			upgrade = <0>;		/* 0 : N, 1 : SYSFS, 2 : CAMON */
			fw_write = <0>;		/* 0 : N, 1 : OS, 2 : SD, 3 : ALL */
			fw_dump = <0>;		/* 0 : N, 1 : Y */
			companion = <0>;	/* 0 : N, 1 : Y */
			ois = <0>;		/* 0 : N, 1 : Y */
			valid = <1>;		/* 0 : INVALID, 1 : VALID */
		};
		camera_info2 {			/* 2 : sysfs rear2 */
			internal_id = <2>;	/* 2 : ultra wide */
			isp = <0>;		/* 0 : INT, 1 : EXT, 2 : SOC */
			cal_memory = <3>;	/* 0 : N, 1 : FROM, 2 : EEPROM, 3 : OTP */
			read_version = <0>;	/* 0 : SYSFS, 1 : CAMON */
			core_voltage = <0>;	/* 0 : N, 1 : Y */
			upgrade = <0>;		/* 0 : N, 1 : SYSFS, 2 : CAMON */
			fw_write = <0>;		/* 0 : N, 1 : OS, 2 : SD, 3 : ALL */
			fw_dump = <0>;		/* 0 : N, 1 : Y */
			companion = <0>;	/* 0 : N, 1 : Y */
			ois = <0>;		/* 0 : N, 1 : Y */
			valid = <1>;		/* 0 : INVALID, 1 : VALID */
		};
		camera_info4 {			/* 4 : sysfs rear3 */
			internal_id = <4>;	/* 4 : bokeh */
			isp = <0>;		/* 0 : INT, 1 : EXT, 2 : SOC */
			cal_memory = <3>;	/* 0 : N, 1 : FROM, 2 : EEPROM, 3 : OTP */
			read_version = <0>;	/* 0 : SYSFS, 1 : CAMON */
			core_voltage = <0>;	/* 0 : N, 1 : Y */
			upgrade = <0>;		/* 0 : N, 1 : SYSFS, 2 : CAMON */
			fw_write = <0>;		/* 0 : N, 1 : OS, 2 : SD, 3 : ALL */
			fw_dump = <0>;		/* 0 : N, 1 : Y */
			companion = <0>;	/* 0 : N, 1 : Y */
			ois = <0>;		/* 0 : N, 1 : Y */
			valid = <1>;		/* 0 : INVALID, 1 : VALID */
		};
		camera_info6 {			/* 6 : sysfs rear4 */
			internal_id = <6>;	/* 6 : MACRO */
			isp = <0>;		/* 0 : INT, 1 : EXT, 2 : SOC */
			cal_memory = <3>;	/* 0 : N, 1 : FROM, 2 : EEPROM, 3 : OTP */
			read_version = <0>;	/* 0 : SYSFS, 1 : CAMON */
			core_voltage = <0>;	/* 0 : N, 1 : Y */
			upgrade = <0>;		/* 0 : N, 1 : SYSFS, 2 : CAMON */
			fw_write = <0>;		/* 0 : N, 1 : OS, 2 : SD, 3 : ALL */
			fw_dump = <0>;		/* 0 : N, 1 : Y */
			companion = <0>;	/* 0 : N, 1 : Y */
			ois = <0>;		/* 0 : N, 1 : Y */
			valid = <1>;		/* 0 : INVALID, 1 : VALID   */
		};
	};

	lic_offsets {
		/* 3AA = <setA lic offset0, setA lic offset1, set A trigger context */
		/*		setB lic offset0, setB lic offset1, set B trigger context> */
		/* 4672: 4640x4352 */
		/* 5824: 5804x4352 */
		3AA = <5461 10922 0 5461 10922 0>;
	};

	buffer_info {
		ypp_buf_max_width = <4608>;	/* defalut value : 5760 */
	};

	is_dvfs {
		#define CPU_CL0	"0-5"
		#define CPU_CL1	"6-7"
		#define CPU_ALL	"0-7"

		table0 {
			desc = "dvfs table v0.2";

			default_cam = <1>;
			default_isp = <1>;
			default_mif = <1>;
			default_int = <2>;
			default_cpu = CPU_CL0;

			rear_single_photo_mif = <3>;
			rear_single_photo_int = <4>;
			rear_single_photo_cpu = CPU_CL0;

			rear_single_photo_full_mif = <1>;
			rear_single_photo_full_int = <2>;
			rear_single_photo_full_cpu = CPU_CL0;

			rear_single_vt_photo_mif = <1>;
			rear_single_vt_photo_int = <2>;
			rear_single_vt_photo_cpu = CPU_CL0;

			rear_single_video_fhd30_mif = <3>;
			rear_single_video_fhd30_int = <5>;
			rear_single_video_fhd30_cpu = CPU_CL0;

			rear_single_videohdr_mif = <0>;
			rear_single_videohdr_int = <0>;
			rear_single_videohdr_cpu = CPU_CL0;

			rear_single_video_fhd60_mif = <0>;
			rear_single_video_fhd60_int = <2>;
			rear_single_video_fhd60_cpu = CPU_CL0;

			rear_single_video_uhd30_mif = <0>;
			rear_single_video_uhd30_int = <2>;
			rear_single_video_uhd30_cpu = CPU_CL0;

			rear_single_video_uhd60_mif = <0>;
			rear_single_video_uhd60_int = <0>;
			rear_single_video_uhd60_cpu = CPU_CL0;

			rear_single_capture_isp = <0>;
			rear_single_capture_mif = <0>;
			rear_single_capture_int = <0>;
			rear_single_capture_cpu = CPU_CL0;

			rear_single_video_fhd120_mif = <0>;
			rear_single_video_fhd120_int = <2>;
			rear_single_video_fhd120_cpu = CPU_CL0;

			rear_single_video_fhd240_mif = <0>;
			rear_single_video_fhd240_int = <0>;
			rear_single_video_fhd240_hpg = <8>;
			rear_single_video_fhd240_cpu = CPU_CL0;

			rear_single_video_fhd480_mif = <0>;
			rear_single_video_fhd480_int = <0>;
			rear_single_video_fhd480_cpu = CPU_CL0;

			rear_single_video_hd30_mif = <3>;
			rear_single_video_hd30_int = <5>;
			rear_single_video_hd30_cpu = CPU_CL0;

			rear_single_video_hd240_mif = <0>;
			rear_single_video_hd240_int = <1>;
			rear_single_video_hd240_hpg = <8>;
			rear_single_video_hd240_cpu = CPU_CL0;

			rear_single_ssm_isp = <0>;
			rear_single_ssm_mif = <0>;
			rear_single_ssm_int = <0>;
			rear_single_ssm_cpu = CPU_CL0;

			rear_single_video_8k24_mif = <0>;
			rear_single_video_8k24_int = <0>;
			rear_single_video_8k24_cpu = CPU_CL0;

			rear_single_video_8k30_mif = <0>;
			rear_single_video_8k30_int = <0>;
			rear_single_video_8k30_cpu = CPU_CL0;

			rear_single_remosaic_photo_mif = <0>;
			rear_single_remosaic_photo_int = <0>;
			rear_single_remosaic_photo_cpu = CPU_CL0;

			rear_single_remosaic_capture_isp = <0>;
			rear_single_remosaic_capture_mif = <0>;
			rear_single_remosaic_capture_int = <0>;
			rear_single_remosaic_capture_cpu = CPU_CL0;

			rear_single_fastae_mif = <0>;
			rear_single_fastae_int = <0>;
			rear_single_fastae_cpu = CPU_CL0;

			rear_dual_wide_tele_photo_mif = <0>;
			rear_dual_wide_tele_photo_int = <0>;
			rear_dual_wide_tele_photo_cpu = CPU_CL0;

			rear_dual_wide_ultrawide_photo_mif = <0>;
			rear_dual_wide_ultrawide_photo_int = <0>;
			rear_dual_wide_ultrawide_photo_cpu = CPU_CL0;

			rear_dual_wide_ultrawide_video_fhd30_mif = <0>;
			rear_dual_wide_ultrawide_video_fhd30_int = <0>;
			rear_dual_wide_ultrawide_video_fhd30_cpu = CPU_CL0;

			rear_dual_wide_ultrawide_video_uhd30_mif = <0>;
			rear_dual_wide_ultrawide_video_uhd30_int = <0>;
			rear_dual_wide_ultrawide_video_uhd30_cpu = CPU_CL0;

			rear_dual_wide_ultrawide_capture_isp = <0>;
			rear_dual_wide_ultrawide_capture_mif = <0>;
			rear_dual_wide_ultrawide_capture_int = <0>;
			rear_dual_wide_ultrawide_capture_cpu = CPU_CL0;

			triple_photo_mif = <0>;
			triple_photo_int = <0>;
			triple_photo_cpu = CPU_CL0;

			triple_video_fhd30_mif = <0>;
			triple_video_fhd30_int = <0>;
			triple_video_fhd30_cpu = CPU_CL0;

			triple_video_uhd30_mif = <0>;
			triple_video_uhd30_int = <0>;
			triple_video_uhd30_cpu = CPU_CL0;

			triple_video_fhd60_mif = <0>;
			triple_video_fhd60_int = <0>;
			triple_video_fhd60_cpu = CPU_CL0;

			triple_video_uhd60_mif = <0>;
			triple_video_uhd60_int = <0>;
			triple_video_uhd60_cpu = CPU_CL0;

			triple_capture_isp = <0>;
			triple_capture_mif = <0>;
			triple_capture_int = <0>;
			triple_capture_cpu = CPU_CL0;

			front_single_photo_mif = <4>;
			front_single_photo_int = <4>;
			front_single_photo_cpu = CPU_CL0;

			front_single_photo_full_mif = <2>;
			front_single_photo_full_int = <3>;
			front_single_photo_full_cpu = CPU_CL0;

			front_single_video_fhd30_mif = <3>;
			front_single_video_fhd30_int = <4>;
			front_single_video_fhd30_cpu = CPU_CL0;

			front_single_video_uhd30_isp = <3>;
			front_single_video_uhd30_mif = <0>;
			front_single_video_uhd30_int = <2>;
			front_single_video_uhd30_cpu = CPU_CL0;

			front_single_video_fhd60_mif = <0>;
			front_single_video_fhd60_int = <4>;
			front_single_video_fhd60_cpu = CPU_CL0;

			front_single_video_uhd60_mif = <0>;
			front_single_video_uhd60_int = <0>;
			front_single_video_uhd60_cpu = CPU_CL0;

			front_single_video_hd30_mif = <3>;
			front_single_video_hd30_int = <4>;
			front_single_video_hd30_cpu = CPU_CL0;

			front_single_video_hd120_mif = <0>;
			front_single_video_hd120_int = <0>;
			front_single_video_hd120_cpu = CPU_CL0;

			front_single_capture_isp = <3>;
			front_single_capture_mif = <1>;
			front_single_capture_int = <2>;
			front_single_capture_cpu = CPU_CL0;

			front_single_vt_mif = <2>;
			front_single_vt_int = <3>;
			front_single_vt_cpu = CPU_CL0;

			front_single_secure_isp = <6>;
			front_single_secure_mif = <2>;
			front_single_secure_int = <3>;
			front_single_secure_cpu = CPU_CL0;

			front_single_video_fhd120_mif = <0>;
			front_single_video_fhd120_int = <0>;
			front_single_video_fhd120_cpu = CPU_CL0;

			pip_dual_photo_mif = <0>;
			pip_dual_photo_int = <0>;
			pip_dual_photo_cpu = CPU_CL0;

			pip_dual_capture_isp = <0>;
			pip_dual_capture_mif = <0>;
			pip_dual_capture_int = <0>;
			pip_dual_capture_cpu = CPU_CL0;

			pip_dual_video_fhd30_mif = <0>;
			pip_dual_video_fhd30_int = <0>;
			pip_dual_video_fhd30_cpu = CPU_CL0;

			ext_rear_single_cam = <0>;
			ext_rear_single_isp = <0>;
			ext_rear_single_mif = <0>;
			ext_rear_single_int = <0>;
			ext_rear_single_cpu = CPU_CL0;

			ext_front_secure_cam = <0>;
			ext_front_secure_isp = <0>;
			ext_front_secure_mif = <0>;
			ext_front_secure_int = <0>;
			ext_front_secure_cpu = CPU_CL0;

			max_cam = <0>;
			max_isp = <0>;
			max_mif = <0>;
			max_int = <0>;
			max_cpu = CPU_CL0;
		};
	};
};
